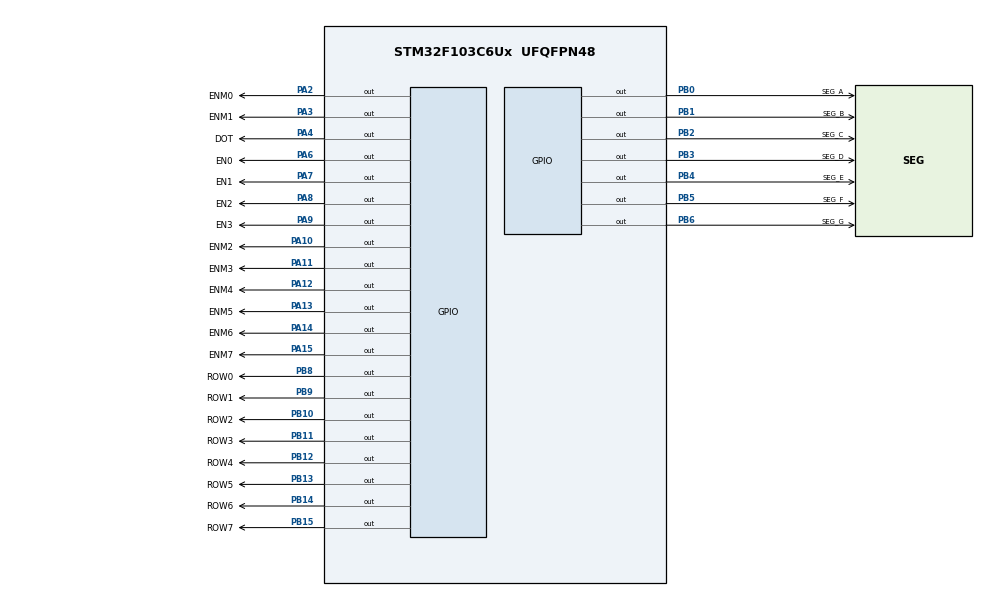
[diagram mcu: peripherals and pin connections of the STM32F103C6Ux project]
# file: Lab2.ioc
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Mcu.Family=STM32F1
Mcu.Name=STM32F103C6Ux
Mcu.Package=UFQFPN48
NVIC.PriorityGroup=NVIC_PRIORITYGROUP_4
NVIC.TIM2_IRQn=true\:0\:0\:false\:false\:true\:true\:true\:true
PA10.GPIO_Label=ENM2
PA10.Signal=GPIO_Output
PA11.GPIO_Label=ENM3
PA11.Signal=GPIO_Output
PA12.GPIO_Label=ENM4
PA12.Signal=GPIO_Output
PA13.GPIO_Label=ENM5
PA13.Signal=GPIO_Output
PA14.GPIO_Label=ENM6
PA14.Signal=GPIO_Output
PA15.GPIO_Label=ENM7
PA15.Signal=GPIO_Output
PA2.GPIO_Label=ENM0
PA2.Signal=GPIO_Output
PA3.GPIO_Label=ENM1
PA3.Signal=GPIO_Output
PA4.GPIO_Label=DOT
PA4.Signal=GPIO_Output
PA6.GPIO_Label=EN0
PA6.Signal=GPIO_Output
PA7.GPIO_Label=EN1
PA7.Signal=GPIO_Output
PA8.GPIO_Label=EN2
PA8.Signal=GPIO_Output
PA9.GPIO_Label=EN3
PA9.Signal=GPIO_Output
PB0.GPIO_Label=SEG_A
PB0.Signal=GPIO_Output
PB1.GPIO_Label=SEG_B
PB1.Signal=GPIO_Output
PB10.GPIO_Label=ROW2
PB10.Signal=GPIO_Output
PB11.GPIO_Label=ROW3
PB11.Signal=GPIO_Output
PB12.GPIO_Label=ROW4
PB12.Signal=GPIO_Output
PB13.GPIO_Label=ROW5
PB13.Signal=GPIO_Output
PB14.GPIO_Label=ROW6
PB14.Signal=GPIO_Output
PB15.GPIO_Label=ROW7
PB15.Signal=GPIO_Output
PB2.GPIO_Label=SEG_C
PB2.Signal=GPIO_Output
PB3.GPIO_Label=SEG_D
PB3.Signal=GPIO_Output
PB4.GPIO_Label=SEG_E
PB4.Signal=GPIO_Output
PB5.GPIO_Label=SEG_F
PB5.Signal=GPIO_Output
PB6.GPIO_Label=SEG_G
PB6.Signal=GPIO_Output
PB8.GPIO_Label=ROW0
PB8.Signal=GPIO_Output
PB9.GPIO_Label=ROW1
PB9.Signal=GPIO_Output
ProjectManager.HeapSize=0x200
ProjectManager.StackSize=0x400
ProjectManager.TargetToolchain=STM32CubeIDE
RCC.APB1Freq_Value=8000000
RCC.APB2Freq_Value=8000000
TIM2.Period=9
TIM2.Prescaler=7999
VP_SYS_VS_ND.Mode=No_Debug
VP_TIM2_VS_ClockSourceINT.Mode=Internal
board=custom

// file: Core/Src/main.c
/* USER CODE BEGIN Header */
/**
  ******************************************************************************
  * @file           : main.c
  * @brief          : Main program body
  ******************************************************************************
  * @attention
  *
  * Copyright (c) 2024 STMicroelectronics.
  * All rights reserved.
  *
  * This software is licensed under terms that can be found in the LICENSE file
  * in the root directory of this software component.
  * If no LICENSE file comes with this software, it is provided AS-IS.
  *
  ******************************************************************************
  */
/* USER CODE END Header */
#include "main.h"

/* USER CODE BEGIN Includes */
#include "Timer.h"
#include "stdbool.h"
/* USER CODE END Includes */

TIM_HandleTypeDef htim2;

void SystemClock_Config(void);
static void MX_GPIO_Init(void);
static void MX_TIM2_Init(void);
/* USER CODE BEGIN PFP */
void  display7SEG(int number);
void enable7SEG(int index);
void update7SEG(int index);
void updateClockBuffer(void);
void clearAllRows(void);
void clearAllColums(void);
void enableColums(int index, int state);
void setColums(uint8_t number);
void updateLEDMatrix(int index);
void HAL_TIM_PeriodElapsedCallback(TIM_HandleTypeDef *htim);
/* USER CODE END PFP */

/* USER CODE BEGIN 0 */
const int MAX_LED = 4;

int led_buffer[4] = {1,2,3,4};
int index_led = 0;

int hour = 15, minute = 8, second = 50;

const int MAX_LED_MATRIX = 8;
int index_led_matrix = 0;
uint8_t matrix_buffer[8] = {0x3C, 0x42, 0x42, 0x7E, 0x42, 0x42, 0x42, 0x00};
uint8_t matrix_buffser_old[8] = {0x3C, 0x42, 0x42, 0x7E, 0x42, 0x42, 0x42, 0x00};

void  display7SEG(int number){
	if(number == 0){
		/*Number 0 */
		HAL_GPIO_WritePin(SEG_A_GPIO_Port, SEG_A_Pin, GPIO_PIN_RESET);
		HAL_GPIO_WritePin(SEG_B_GPIO_Port, SEG_B_Pin, GPIO_PIN_RESET);
		HAL_GPIO_WritePin(SEG_C_GPIO_Port, SEG_C_Pin, GPIO_PIN_RESET);
		HAL_GPIO_WritePin(SEG_D_GPIO_Port, SEG_D_Pin, GPIO_PIN_RESET);
		HAL_GPIO_WritePin(SEG_E_GPIO_Port, SEG_E_Pin, GPIO_PIN_RESET);
		HAL_GPIO_WritePin(SEG_F_GPIO_Port, SEG_F_Pin, GPIO_PIN_RESET);
		HAL_GPIO_WritePin(SEG_G_GPIO_Port, SEG_G_Pin, GPIO_PIN_SET);
	}
	else if(number == 1){
		  /*Number 1 */
		  HAL_GPIO_WritePin(SEG_A_GPIO_Port, SEG_A_Pin, GPIO_PIN_SET);
		  HAL_GPIO_WritePin(SEG_B_GPIO_Port, SEG_B_Pin, GPIO_PIN_RESET);
		  HAL_GPIO_WritePin(SEG_C_GPIO_Port, SEG_C_Pin, GPIO_PIN_RESET);
		  HAL_GPIO_WritePin(SEG_D_GPIO_Port, SEG_D_Pin, GPIO_PIN_SET);
		  HAL_GPIO_WritePin(SEG_E_GPIO_Port, SEG_E_Pin, GPIO_PIN_SET);
		  HAL_GPIO_WritePin(SEG_F_GPIO_Port, SEG_F_Pin, GPIO_PIN_SET);
		  HAL_GPIO_WritePin(SEG_G_GPIO_Port, SEG_G_Pin, GPIO_PIN_SET);
	}
	else if(number == 2){
		  /*Number 2 */
		  HAL_GPIO_WritePin(SEG_A_GPIO_Port, SEG_A_Pin, GPIO_PIN_RESET);
		  HAL_GPIO_WritePin(SEG_B_GPIO_Port, SEG_B_Pin, GPIO_PIN_RESET);
		  HAL_GPIO_WritePin(SEG_C_GPIO_Port, SEG_C_Pin, GPIO_PIN_SET);
		  HAL_GPIO_WritePin(SEG_D_GPIO_Port, SEG_D_Pin, GPIO_PIN_RESET);
		  HAL_GPIO_WritePin(SEG_E_GPIO_Port, SEG_E_Pin, GPIO_PIN_RESET);
		  HAL_GPIO_WritePin(SEG_F_GPIO_Port, SEG_F_Pin, GPIO_PIN_SET);
		  HAL_GPIO_WritePin(SEG_G_GPIO_Port, SEG_G_Pin, GPIO_PIN_RESET);

	}
	else if(number == 3){
		/*Number 3 */
			  HAL_GPIO_WritePin(SEG_A_GPIO_Port, SEG_A_Pin, GPIO_PIN_RESET);
			  HAL_GPIO_WritePin(SEG_B_GPIO_Port, SEG_B_Pin, GPIO_PIN_RESET);
			  HAL_GPIO_WritePin(SEG_C_GPIO_Port, SEG_C_Pin, GPIO_PIN_RESET);
			  HAL_GPIO_WritePin(SEG_D_GPIO_Port, SEG_D_Pin, GPIO_PIN_RESET);
			  HAL_GPIO_WritePin(SEG_E_GPIO_Port, SEG_E_Pin, GPIO_PIN_SET);
			  HAL_GPIO_WritePin(SEG_F_GPIO_Port, SEG_F_Pin, GPIO_PIN_SET);
			  HAL_GPIO_WritePin(SEG_G_GPIO_Port, SEG_G_Pin, GPIO_PIN_RESET);
	}
	else if(number == 4){
		/*Number 4 */
			  HAL_GPIO_WritePin(SEG_A_GPIO_Port, SEG_A_Pin, GPIO_PIN_SET);
			  HAL_GPIO_WritePin(SEG_B_GPIO_Port, SEG_B_Pin, GPIO_PIN_RESET);
			  HAL_GPIO_WritePin(SEG_C_GPIO_Port, SEG_C_Pin, GPIO_PIN_RESET);
			  HAL_GPIO_WritePin(SEG_D_GPIO_Port, SEG_D_Pin, GPIO_PIN_SET);
			  HAL_GPIO_WritePin(SEG_E_GPIO_Port, SEG_E_Pin, GPIO_PIN_SET);
			  HAL_GPIO_WritePin(SEG_F_GPIO_Port, SEG_F_Pin, GPIO_PIN_RESET);
			  HAL_GPIO_WritePin(SEG_G_GPIO_Port, SEG_G_Pin, GPIO_PIN_RESET);
	}
	else if(number == 5){
		  /*Number 5 */
		  HAL_GPIO_WritePin(SEG_A_GPIO_Port, SEG_A_Pin, GPIO_PIN_RESET);
		  HAL_GPIO_WritePin(SEG_B_GPIO_Port, SEG_B_Pin, GPIO_PIN_SET);
		  HAL_GPIO_WritePin(SEG_C_GPIO_Port, SEG_C_Pin, GPIO_PIN_RESET);
		  HAL_GPIO_WritePin(SEG_D_GPIO_Port, SEG_D_Pin, GPIO_PIN_RESET);
		  HAL_GPIO_WritePin(SEG_E_GPIO_Port, SEG_E_Pin, GPIO_PIN_SET);
		  HAL_GPIO_WritePin(SEG_F_GPIO_Port, SEG_F_Pin, GPIO_PIN_RESET);
		  HAL_GPIO_WritePin(SEG_G_GPIO_Port, SEG_G_Pin, GPIO_PIN_RESET);
	}
	else if(number == 6){
		 /*Number 6 */
			  HAL_GPIO_WritePin(SEG_A_GPIO_Port, SEG_A_Pin, GPIO_PIN_RESET);
			  HAL_GPIO_WritePin(SEG_B_GPIO_Port, SEG_B_Pin, GPIO_PIN_SET);
			  HAL_GPIO_WritePin(SEG_C_GPIO_Port, SEG_C_Pin, GPIO_PIN_RESET);
			  HAL_GPIO_WritePin(SEG_D_GPIO_Port, SEG_D_Pin, GPIO_PIN_RESET);
			  HAL_GPIO_WritePin(SEG_E_GPIO_Port, SEG_E_Pin, GPIO_PIN_RESET);
			  HAL_GPIO_WritePin(SEG_F_GPIO_Port, SEG_F_Pin, GPIO_PIN_RESET);
			  HAL_GPIO_WritePin(SEG_G_GPIO_Port, SEG_G_Pin, GPIO_PIN_RESET);
	}
	else if(number == 7){
		/*Number 7 */
			  HAL_GPIO_WritePin(SEG_A_GPIO_Port, SEG_A_Pin, GPIO_PIN_RESET);
			  HAL_GPIO_WritePin(SEG_B_GPIO_Port, SEG_B_Pin, GPIO_PIN_RESET);
			  HAL_GPIO_WritePin(SEG_C_GPIO_Port, SEG_C_Pin, GPIO_PIN_RESET);
			  HAL_GPIO_WritePin(SEG_D_GPIO_Port, SEG_D_Pin, GPIO_PIN_SET);
			  HAL_GPIO_WritePin(SEG_E_GPIO_Port, SEG_E_Pin, GPIO_PIN_SET);
			  HAL_GPIO_WritePin(SEG_F_GPIO_Port, SEG_F_Pin, GPIO_PIN_SET);
			  HAL_GPIO_WritePin(SEG_G_GPIO_Port, SEG_G_Pin, GPIO_PIN_SET);
	}
	else if(number == 8){
		/*Number 8 */
			  HAL_GPIO_WritePin(SEG_A_GPIO_Port, SEG_A_Pin, GPIO_PIN_RESET);
			  HAL_GPIO_WritePin(SEG_B_GPIO_Port, SEG_B_Pin, GPIO_PIN_RESET);
			  HAL_GPIO_WritePin(SEG_C_GPIO_Port, SEG_C_Pin, GPIO_PIN_RESET);
			  HAL_GPIO_WritePin(SEG_D_GPIO_Port, SEG_D_Pin, GPIO_PIN_RESET);
			  HAL_GPIO_WritePin(SEG_E_GPIO_Port, SEG_E_Pin, GPIO_PIN_RESET);
			  HAL_GPIO_WritePin(SEG_F_GPIO_Port, SEG_F_Pin, GPIO_PIN_RESET);
			  HAL_GPIO_WritePin(SEG_G_GPIO_Port, SEG_G_Pin, GPIO_PIN_RESET);
	}
	else if(number == 9){
		/*Number 9 */
			  HAL_GPIO_WritePin(SEG_A_GPIO_Port, SEG_A_Pin, GPIO_PIN_RESET);
			  HAL_GPIO_WritePin(SEG_B_GPIO_Port, SEG_B_Pin, GPIO_PIN_RESET);
			  HAL_GPIO_WritePin(SEG_C_GPIO_Port, SEG_C_Pin, GPIO_PIN_RESET);
			  HAL_GPIO_WritePin(SEG_D_GPIO_Port, SEG_D_Pin, GPIO_PIN_RESET);
			  HAL_GPIO_WritePin(SEG_E_GPIO_Port, SEG_E_Pin, GPIO_PIN_SET);
			  HAL_GPIO_WritePin(SEG_F_GPIO_Port, SEG_F_Pin, GPIO_PIN_RESET);
			  HAL_GPIO_WritePin(SEG_G_GPIO_Port, SEG_G_Pin, GPIO_PIN_RESET);
	}
	else{

	}
}

void enable7SEG(int index){
	if(index == 0){
		HAL_GPIO_WritePin(EN0_GPIO_Port, EN0_Pin, GPIO_PIN_RESET);
		HAL_GPIO_WritePin(EN1_GPIO_Port, EN1_Pin, GPIO_PIN_SET);
		HAL_GPIO_WritePin(EN2_GPIO_Port, EN2_Pin, GPIO_PIN_SET);
		HAL_GPIO_WritePin(EN3_GPIO_Port, EN3_Pin, GPIO_PIN_SET);
	}
	else if(index == 1){
		HAL_GPIO_WritePin(EN0_GPIO_Port, EN0_Pin, GPIO_PIN_SET);
		HAL_GPIO_WritePin(EN1_GPIO_Port, EN1_Pin, GPIO_PIN_RESET);
		HAL_GPIO_WritePin(EN2_GPIO_Port, EN2_Pin, GPIO_PIN_SET);
		HAL_GPIO_WritePin(EN3_GPIO_Port, EN3_Pin, GPIO_PIN_SET);
	}
	else if(index == 2){
		HAL_GPIO_WritePin(EN0_GPIO_Port, EN0_Pin, GPIO_PIN_SET);
		HAL_GPIO_WritePin(EN1_GPIO_Port, EN1_Pin, GPIO_PIN_SET);
		HAL_GPIO_WritePin(EN2_GPIO_Port, EN2_Pin, GPIO_PIN_RESET);
		HAL_GPIO_WritePin(EN3_GPIO_Port, EN3_Pin, GPIO_PIN_SET);
	}
	else if(index == 3){
		HAL_GPIO_WritePin(EN0_GPIO_Port, EN0_Pin, GPIO_PIN_SET);
		HAL_GPIO_WritePin(EN1_GPIO_Port, EN1_Pin, GPIO_PIN_SET);
		HAL_GPIO_WritePin(EN2_GPIO_Port, EN2_Pin, GPIO_PIN_SET);
		HAL_GPIO_WritePin(EN3_GPIO_Port, EN3_Pin, GPIO_PIN_RESET);
	}
	else{

	}
}

void update7SEG(int index){
	switch(index){
	case 0:
		enable7SEG(index);
		display7SEG(led_buffer[index]);
		break;
	case 1:
		enable7SEG(index);
		display7SEG(led_buffer[index]);
		break;
	case 2:
		enable7SEG(index);
		display7SEG(led_buffer[index]);
		break;
	case 3:
		enable7SEG(index);
		display7SEG(led_buffer[index]);
		break;
	default:
		break;
	}
}

void updateClockBuffer(void){
    led_buffer[0] = hour / 10;
    led_buffer[1] = hour % 10;

    led_buffer[2] = minute / 10;
    led_buffer[3] = minute % 10;
}

void clearAllRows(void){
	HAL_GPIO_WritePin(ROW0_GPIO_Port, ROW0_Pin, GPIO_PIN_RESET);
	HAL_GPIO_WritePin(ROW1_GPIO_Port, ROW1_Pin, GPIO_PIN_RESET);
	HAL_GPIO_WritePin(ROW2_GPIO_Port, ROW2_Pin, GPIO_PIN_RESET);
	HAL_GPIO_WritePin(ROW3_GPIO_Port, ROW3_Pin, GPIO_PIN_RESET);
	HAL_GPIO_WritePin(ROW4_GPIO_Port, ROW4_Pin, GPIO_PIN_RESET);
	HAL_GPIO_WritePin(ROW5_GPIO_Port, ROW5_Pin, GPIO_PIN_RESET);
	HAL_GPIO_WritePin(ROW6_GPIO_Port, ROW6_Pin, GPIO_PIN_RESET);
	HAL_GPIO_WritePin(ROW7_GPIO_Port, ROW7_Pin, GPIO_PIN_RESET);
}

void clearAllColums(void){
	HAL_GPIO_WritePin(ENM0_GPIO_Port, ENM0_Pin, GPIO_PIN_RESET);
	HAL_GPIO_WritePin(ENM1_GPIO_Port, ENM1_Pin, GPIO_PIN_RESET);
	HAL_GPIO_WritePin(ENM2_GPIO_Port, ENM2_Pin, GPIO_PIN_RESET);
	HAL_GPIO_WritePin(ENM3_GPIO_Port, ENM3_Pin, GPIO_PIN_RESET);
	HAL_GPIO_WritePin(ENM4_GPIO_Port, ENM4_Pin, GPIO_PIN_RESET);
	HAL_GPIO_WritePin(ENM5_GPIO_Port, ENM5_Pin, GPIO_PIN_RESET);
	HAL_GPIO_WritePin(ENM6_GPIO_Port, ENM6_Pin, GPIO_PIN_RESET);
	HAL_GPIO_WritePin(ENM7_GPIO_Port, ENM7_Pin, GPIO_PIN_RESET);
}

void enableColums(int index, int state){
	if(!state){
		return;
	}

	switch(index){
	case 0:
		HAL_GPIO_WritePin(ENM0_GPIO_Port, ENM0_Pin, GPIO_PIN_SET);
		break;
	case 1:
		HAL_GPIO_WritePin(ENM1_GPIO_Port, ENM1_Pin, GPIO_PIN_SET);
		break;
	case 2:
		HAL_GPIO_WritePin(ENM2_GPIO_Port, ENM2_Pin, GPIO_PIN_SET);
		break;
	case 3:
		HAL_GPIO_WritePin(ENM3_GPIO_Port, ENM3_Pin, GPIO_PIN_SET);
		break;
	case 4:
		HAL_GPIO_WritePin(ENM4_GPIO_Port, ENM4_Pin, GPIO_PIN_SET);
		break;
	case 5:
		HAL_GPIO_WritePin(ENM5_GPIO_Port, ENM5_Pin, GPIO_PIN_SET);
		break;
	case 6:
		HAL_GPIO_WritePin(ENM6_GPIO_Port, ENM6_Pin, GPIO_PIN_SET);
		break;
	case 7:
		HAL_GPIO_WritePin(ENM7_GPIO_Port, ENM7_Pin, GPIO_PIN_SET);
		break;
	default:
		break;
	}
}

void setColums(uint8_t number){
	for(int i=0;i<MAX_LED_MATRIX;i++){
		enableColums(i, (int)(number & (1 << i)));
	}
}

void updateLEDMatrix(int index){
	clearAllRows();
	clearAllColums();
	switch(index){
	case 0:
		HAL_GPIO_WritePin(ROW0_GPIO_Port, ROW0_Pin, GPIO_PIN_SET);
		break;
	case 1:
		HAL_GPIO_WritePin(ROW1_GPIO_Port, ROW1_Pin, GPIO_PIN_SET);
		break;
	case 2:
		HAL_GPIO_WritePin(ROW2_GPIO_Port, ROW2_Pin, GPIO_PIN_SET);
		break;
	case 3:
		HAL_GPIO_WritePin(ROW3_GPIO_Port, ROW3_Pin, GPIO_PIN_SET);
		break;
	case 4:
		HAL_GPIO_WritePin(ROW4_GPIO_Port, ROW4_Pin, GPIO_PIN_SET);
		break;
	case 5:
		HAL_GPIO_WritePin(ROW5_GPIO_Port, ROW5_Pin, GPIO_PIN_SET);
		break;
	case 6:
		HAL_GPIO_WritePin(ROW6_GPIO_Port, ROW6_Pin, GPIO_PIN_SET);
		break;
	case 7:
		HAL_GPIO_WritePin(ROW7_GPIO_Port, ROW7_Pin, GPIO_PIN_SET);
		break;
	default:
		break;
	}

	setColums(matrix_buffer[index]);
}

void shiftLeft(uint8_t* Matrix){
	for(int i=0;i<MAX_LED_MATRIX;i++){
		Matrix[i] = Matrix[i] << 1;
	}
}

bool isemptyMatrix(uint8_t* Matrix){
	for(int i=0;i<MAX_LED_MATRIX;i++){
		if(Matrix[i] != 0){
			return false;
		}
	}

	return true;
}
void resetMatrix(){
	for(int i=0;i<MAX_LED_MATRIX;i++){
		matrix_buffer[i] = matrix_buffser_old[i];
	}
}

void HAL_TIM_PeriodElapsedCallback(TIM_HandleTypeDef *htim){
	runTimer();
}

/* USER CODE END 0 */

int main(void)
{

  /* MCU Configuration--------------------------------------------------------*/

  /* Reset of all peripherals, Initializes the Flash interface and the Systick. */
  HAL_Init();

  /* Configure the system clock */
  SystemClock_Config();

  /* Initialize all configured peripherals */
  MX_GPIO_Init();
  MX_TIM2_Init();

  /* Infinite loop */
  /* USER CODE BEGIN WHILE */
  int Time_Matrix = 20;

  setTimer(0, 250);
  setTimer(1, 1000);
  setTimer(2, 1000); /*1000ms for delay*/
  setTimer(3, Time_Matrix);
  setTimer(4, 300);  /*300ms for led animation*/

  clearAllRows();

  updateClockBuffer();

  HAL_TIM_Base_Start_IT(&htim2);
  while (1)
  {
	/*I done Exercise 6 because SoftWare Timer had done before*/
	/* I done Exercise 7 because I had done it in Exercise6*/
	/* I done Exercise 8 because I had done it in Exercise6*/
	if(Timer_Flag[0]){
		update7SEG(index_led++);
		if(index_led >= MAX_LED){
			index_led = 0;
		}

		setTimer(0, 250);
	}

	if(Timer_Flag[1]){
		HAL_GPIO_TogglePin(DOT_GPIO_Port, DOT_Pin);
		setTimer(1, 1000);
	}

	if(Timer_Flag[2]){
		 second = second + 1;

		 if(second >= 60){
			 minute = minute + 1;
			 second = 0;
		 }

		 if(minute >= 60){
			 hour = hour + 1;
			 minute = 0;
		 }

		 if(hour >= 24){
			 hour = 0;
		 }

		 updateClockBuffer();
		 setTimer(2, 1000);
	}

	 if(Timer_Flag[3]){
		updateLEDMatrix(index_led_matrix++);
		if(index_led_matrix >= MAX_LED_MATRIX){
			index_led_matrix = 0;
		}
		setTimer(3, Time_Matrix);
	 }

	 if(Timer_Flag[4]){
		 shiftLeft(matrix_buffer);
		 if(isemptyMatrix(matrix_buffer)){
			 resetMatrix();
		 }
		 setTimer(4, 300);
	 }

    /* USER CODE END WHILE */

  }
}

void SystemClock_Config(void)
{
  RCC_OscInitTypeDef RCC_OscInitStruct = {0};
  RCC_ClkInitTypeDef RCC_ClkInitStruct = {0};

  /** Initializes the RCC Oscillators according to the specified parameters
  * in the RCC_OscInitTypeDef structure.
  */
  RCC_OscInitStruct.OscillatorType = RCC_OSCILLATORTYPE_HSI;
  RCC_OscInitStruct.HSIState = RCC_HSI_ON;
  RCC_OscInitStruct.HSICalibrationValue = RCC_HSICALIBRATION_DEFAULT;
  RCC_OscInitStruct.PLL.PLLState = RCC_PLL_NONE;
  if (HAL_RCC_OscConfig(&RCC_OscInitStruct) != HAL_OK)
  {
    Error_Handler();
  }

  /** Initializes the CPU, AHB and APB buses clocks
  */
  RCC_ClkInitStruct.ClockType = RCC_CLOCKTYPE_HCLK|RCC_CLOCKTYPE_SYSCLK
                              |RCC_CLOCKTYPE_PCLK1|RCC_CLOCKTYPE_PCLK2;
  RCC_ClkInitStruct.SYSCLKSource = RCC_SYSCLKSOURCE_HSI;
  RCC_ClkInitStruct.AHBCLKDivider = RCC_SYSCLK_DIV1;
  RCC_ClkInitStruct.APB1CLKDivider = RCC_HCLK_DIV1;
  RCC_ClkInitStruct.APB2CLKDivider = RCC_HCLK_DIV1;

  if (HAL_RCC_ClockConfig(&RCC_ClkInitStruct, FLASH_LATENCY_0) != HAL_OK)
  {
    Error_Handler();
  }
}

static void MX_TIM2_Init(void)
{

  TIM_ClockConfigTypeDef sClockSourceConfig = {0};
  TIM_MasterConfigTypeDef sMasterConfig = {0};

  htim2.Instance = TIM2;
  htim2.Init.Prescaler = 7999;
  htim2.Init.CounterMode = TIM_COUNTERMODE_UP;
  htim2.Init.Period = 9;
  htim2.Init.ClockDivision = TIM_CLOCKDIVISION_DIV1;
  htim2.Init.AutoReloadPreload = TIM_AUTORELOAD_PRELOAD_DISABLE;
  if (HAL_TIM_Base_Init(&htim2) != HAL_OK)
  {
    Error_Handler();
  }
  sClockSourceConfig.ClockSource = TIM_CLOCKSOURCE_INTERNAL;
  if (HAL_TIM_ConfigClockSource(&htim2, &sClockSourceConfig) != HAL_OK)
  {
    Error_Handler();
  }
  sMasterConfig.MasterOutputTrigger = TIM_TRGO_RESET;
  sMasterConfig.MasterSlaveMode = TIM_MASTERSLAVEMODE_DISABLE;
  if (HAL_TIMEx_MasterConfigSynchronization(&htim2, &sMasterConfig) != HAL_OK)
  {
    Error_Handler();
  }

}

static void MX_GPIO_Init(void)
{
  GPIO_InitTypeDef GPIO_InitStruct = {0};

  /* GPIO Ports Clock Enable */
  __HAL_RCC_GPIOA_CLK_ENABLE();
  __HAL_RCC_GPIOB_CLK_ENABLE();

  /*Configure GPIO pin Output Level */
  HAL_GPIO_WritePin(GPIOA, ENM0_Pin|ENM1_Pin|DOT_Pin|EN0_Pin
                          |EN1_Pin|EN2_Pin|EN3_Pin|ENM2_Pin
                          |ENM3_Pin|ENM4_Pin|ENM5_Pin|ENM6_Pin
                          |ENM7_Pin, GPIO_PIN_RESET);

  /*Configure GPIO pin Output Level */
  HAL_GPIO_WritePin(GPIOB, SEG_A_Pin|SEG_B_Pin|SEG_C_Pin|ROW2_Pin
                          |ROW3_Pin|ROW4_Pin|ROW5_Pin|ROW6_Pin
                          |ROW7_Pin|SEG_D_Pin|SEG_E_Pin|SEG_F_Pin
                          |SEG_G_Pin|ROW0_Pin|ROW1_Pin, GPIO_PIN_RESET);

  /*Configure GPIO pins : ENM0_Pin ENM1_Pin DOT_Pin EN0_Pin
                           EN1_Pin EN2_Pin EN3_Pin ENM2_Pin
                           ENM3_Pin ENM4_Pin ENM5_Pin ENM6_Pin
                           ENM7_Pin */
  GPIO_InitStruct.Pin = ENM0_Pin|ENM1_Pin|DOT_Pin|EN0_Pin
                          |EN1_Pin|EN2_Pin|EN3_Pin|ENM2_Pin
                          |ENM3_Pin|ENM4_Pin|ENM5_Pin|ENM6_Pin
                          |ENM7_Pin;
  GPIO_InitStruct.Mode = GPIO_MODE_OUTPUT_PP;
  GPIO_InitStruct.Pull = GPIO_NOPULL;
  GPIO_InitStruct.Speed = GPIO_SPEED_FREQ_LOW;
  HAL_GPIO_Init(GPIOA, &GPIO_InitStruct);

  /*Configure GPIO pins : SEG_A_Pin SEG_B_Pin SEG_C_Pin ROW2_Pin
                           ROW3_Pin ROW4_Pin ROW5_Pin ROW6_Pin
                           ROW7_Pin SEG_D_Pin SEG_E_Pin SEG_F_Pin
                           SEG_G_Pin ROW0_Pin ROW1_Pin */
  GPIO_InitStruct.Pin = SEG_A_Pin|SEG_B_Pin|SEG_C_Pin|ROW2_Pin
                          |ROW3_Pin|ROW4_Pin|ROW5_Pin|ROW6_Pin
                          |ROW7_Pin|SEG_D_Pin|SEG_E_Pin|SEG_F_Pin
                          |SEG_G_Pin|ROW0_Pin|ROW1_Pin;
  GPIO_InitStruct.Mode = GPIO_MODE_OUTPUT_PP;
  GPIO_InitStruct.Pull = GPIO_NOPULL;
  GPIO_InitStruct.Speed = GPIO_SPEED_FREQ_LOW;
  HAL_GPIO_Init(GPIOB, &GPIO_InitStruct);

}

void Error_Handler(void)
{
  __disable_irq();
  while (1)
  {
  }
}
